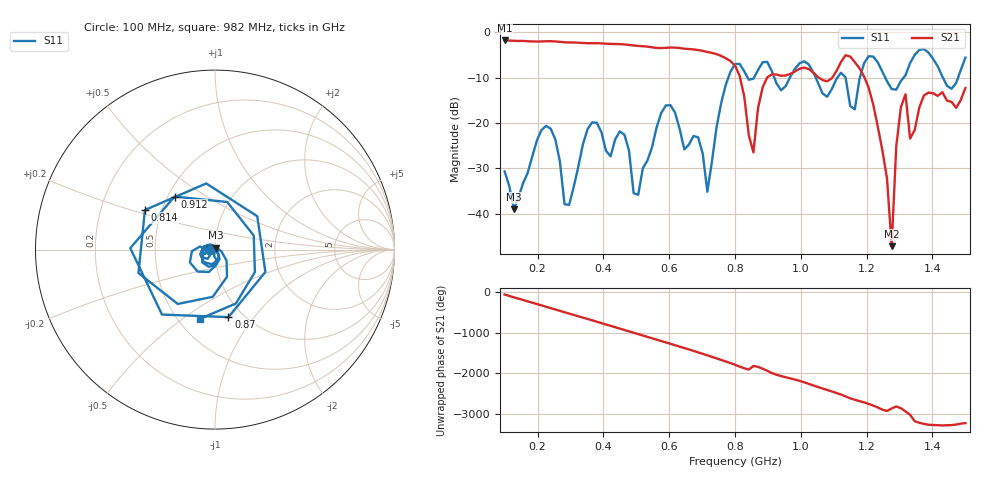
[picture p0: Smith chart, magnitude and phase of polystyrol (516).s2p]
! NanoVNA-App
! Date: 2025-09-25 15:33:54
! Start: 100MHz Stop: 1,5GHz Points: 101
! S-Parameter data: F S11 S21 S12 S22
# Hz S RI R 50
!  Frequency  S11_Real  S11_Imag  S21_Real  S21_Imag  S12_Real  S12_Imag  S22_Real  S22_Imag
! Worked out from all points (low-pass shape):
!   101 points, 100 MHz to 1.5 GHz, reference 50 ohm
!   highest |S21| = -1.80 dB at 100 MHz (marker M1); lowest = -47.2 dB at 1.276 GHz (marker M2)
!   |S21| within 3 dB of the highest: start of sweep to 743.1 MHz
!   lowest |S11| = -39.0 dB at 128 MHz (marker M3), VSWR 1.02, Z = 50.3 + j1.07 ohm
!   |S11| at or under -10 dB: start of sweep to 779.7 MHz; 1.045 GHz to 1.111 GHz (65.94 MHz wide, 6.12 % of centre); 1.256 GHz to 1.312 GHz (55.79 MHz wide, 4.34 % of centre) (the widest 3 of 7)
!   S12 and S22 are empty: the file has one direction only
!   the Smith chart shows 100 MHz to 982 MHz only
!   S11 on the Smith chart (normalised r, x): 100 MHz: 0.94, -0.01; 814 MHz: 0.40, +0.22; 870 MHz: 0.86, -0.75; 912 MHz: 0.54, +0.37; 982 MHz: 0.64, -0.58
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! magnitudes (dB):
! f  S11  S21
! 100 MHz  -30.7  -1.8
! 128 MHz  -39.0  -1.9
! 212 MHz  -21.6  -2.0
! 282 MHz  -37.9  -2.2
! 338 MHz  -24.7  -2.3
! 464 MHz  -22.6  -2.7
! 506 MHz  -35.9  -3.0
! 576 MHz  -17.8  -3.5
! 716 MHz  -35.2  -4.3
! 800 MHz  -7.0  -7.3
! 814 MHz  -7.0  -9.6
! 856 MHz  -10.3  -26.5
! 870 MHz  -8.3  -16.7
! 912 MHz  -8.6  -9.3
! 982 MHz  -8.1  -8.6
! 1.038 GHz  -8.8  -8.9
! 1.192 GHz  -6.8  -9.7
! 1.276 GHz  -12.5  -47.2
! 1.29 GHz  -12.6  -25.1
! 1.318 GHz  -9.5  -13.7
! 1.332 GHz  -6.8  -23.5
! 1.5 GHz  -5.6  -12.3
